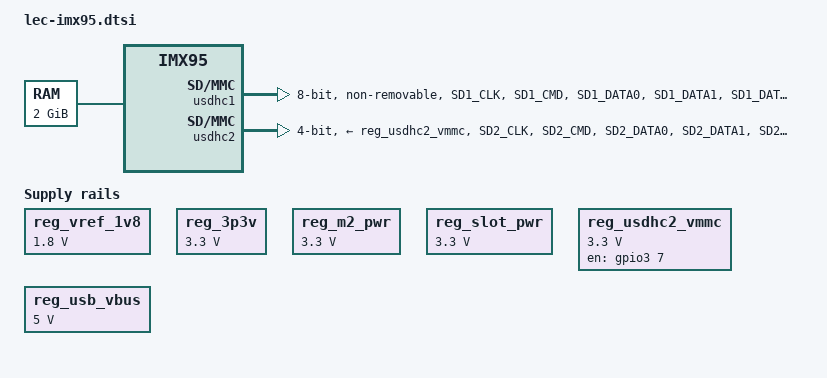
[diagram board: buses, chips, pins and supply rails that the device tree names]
// SPDX-License-Identifier: GPL-2.0-or-later OR MIT
/*
 * Copyright (C) 2026 Adlink
 *
 * https://www.adlinktech.com/products/Computer_on_Modules/SMARC/LEC-IMX95
 * https://www.adlinktech.com/products/computer_on_modules/SMARCStarterKits/I-Pi_SMARC_IMX95
 */

#include <dt-bindings/input/input.h>
#include <dt-bindings/net/ti-dp83867.h>
#include "imx95.dtsi"


/ {

	aliases {
		ethernet0 = &enetc_port0;
		ethernet1 = &enetc_port1;
		gpio0 = &gpio1;
		gpio1 = &gpio2;
		gpio2 = &gpio3;
		gpio3 = &gpio4;
		gpio4 = &gpio5;
		i2c0 = &lpi2c1;
		i2c1 = &lpi2c2;
		i2c2 = &lpi2c3;
		i2c3 = &lpi2c4;
		i2c4 = &lpi2c5;
		i2c5 = &lpi2c6;
		i2c6 = &lpi2c7;
		i2c7 = &lpi2c8;
		mmc0 = &usdhc1;
		mmc1 = &usdhc2;
		serial0 = &lpuart1;
		serial4 = &lpuart5;
		spi0 = &flexspi1;
                usb0 = &usb3_dwc3;
                usb1 = &usb2;
	};

	chosen {
		stdout-path = &lpuart1;
	};

	memory@80000000 {
		device_type = "memory";
		reg = <0x0 0x80000000 0 0x80000000>;
	};

	reserved-memory {
		#address-cells = <2>;
		#size-cells = <2>;
		ranges;

		linux_cma: linux,cma {
			compatible = "shared-dma-pool";
			alloc-ranges = <0 0x80000000 0 0x7f000000>;
			size = <0 0x3c000000>;
			linux,cma-default;
			reusable;
		};
	};

	reg_vref_1v8: regulator-1p8v {
		compatible = "regulator-fixed";
		regulator-max-microvolt = <1800000>;
		regulator-min-microvolt = <1800000>;
		regulator-name = "+V1.8_SW";
	};

	reg_3p3v: regulator-3p3v {
		compatible = "regulator-fixed";
		regulator-max-microvolt = <3300000>;
		regulator-min-microvolt = <3300000>;
		regulator-name = "+V3.3_SW";
	};

	chosen {
		bootargs = "console=ttyLP0,115200 earlycon";
	};

	reg_m2_pwr: regulator-m2-pwr {
		compatible = "regulator-fixed";
		regulator-name = "M.2-power";
		regulator-min-microvolt = <3300000>;
		regulator-max-microvolt = <3300000>;
		enable-active-high;
		/*
		 * M.2 device only can be enabled(W_DISABLE1#) after all Power
		 * Rails reach their minimum operating voltage (PCI Express M.2
		 * Specification r5.1 3.1.4 Power-up Timing).
		 * Set a delay equal to the max value of Tsettle here.
		 */
		startup-delay-us = <5000>;
	};

	reg_slot_pwr: regulator-slot-pwr {
		compatible = "regulator-fixed";
		regulator-name = "PCIe slot-power";
		regulator-min-microvolt = <3300000>;
		regulator-max-microvolt = <3300000>;
		enable-active-high;
	};

	reg_usdhc2_vmmc: regulator-usdhc2 {
		compatible = "regulator-fixed";
		pinctrl-names = "default";
		pinctrl-0 = <&pinctrl_reg_usdhc2_vmmc>;
		regulator-name = "VDD_SD2_3V3";
		regulator-min-microvolt = <3300000>;
		regulator-max-microvolt = <3300000>;
		enable-active-high;
		gpio = <&gpio3 7 GPIO_ACTIVE_HIGH>;
		off-on-delay-us = <12000>;
	};

	reg_usb_vbus: regulator-vbus {
		compatible = "regulator-fixed";
		regulator-name = "USB_VBUS";
		regulator-min-microvolt = <5000000>;
		regulator-max-microvolt = <5000000>;
		enable-active-high;
	};

};
&usdhc1 {
	pinctrl-names = "default", "state_100mhz", "state_200mhz", "sleep";
	pinctrl-0 = <&pinctrl_usdhc1>;
	pinctrl-1 = <&pinctrl_usdhc1_100mhz>;
	pinctrl-2 = <&pinctrl_usdhc1_200mhz>;
	pinctrl-3 = <&pinctrl_usdhc1>;
	bus-width = <8>;
	non-removable;
	no-sdio;
	no-sd;
	status = "okay";
};

&usdhc2 {
	pinctrl-names = "default", "state_100mhz", "state_200mhz", "sleep";
	pinctrl-0 = <&pinctrl_usdhc2>, <&pinctrl_usdhc2_gpio>;
	pinctrl-1 = <&pinctrl_usdhc2_100mhz>, <&pinctrl_usdhc2_gpio>;
	pinctrl-2 = <&pinctrl_usdhc2_200mhz>, <&pinctrl_usdhc2_gpio>;
	pinctrl-3 = <&pinctrl_usdhc2>, <&pinctrl_usdhc2_gpio>;
	cd-gpios = <&gpio3 0 GPIO_ACTIVE_LOW>;
	vmmc-supply = <&reg_usdhc2_vmmc>;
	bus-width = <4>;
	status = "okay";
};

&gpio2 {
	gpio-line-names =
		"SMARC_SPI0_CS0#",      /* 0  - GPIO_IO00 */
		"SMARC_SPI0_DIN",       /* 1  - GPIO_IO01 */
		"SMARC_SPI0_DO",        /* 2  - GPIO_IO02 */
		"SMARC_SPI0_CK",        /* 3  - GPIO_IO03 */
		"SMARC_SPI1_CS0#",      /* 4  - GPIO_IO04 */
		"SMARC_SPI1_DIN",       /* 5  - GPIO_IO05 */
		"SMARC_SPI1_DO",        /* 6  - GPIO_IO06 */
		"SMARC_SPI1_CK",        /* 7  - GPIO_IO07 */
		"SMARC_UART0_TXD",      /* 8  - GPIO_IO08 */
		"SMARC_UART0_RXD",      /* 9  - GPIO_IO09 */
		"SMARC_UART0_CTS_B",    /* 10 - GPIO_IO10 */
		"SMARC_UART0_RTS_B",    /* 11 - GPIO_IO11 */
		"SMARC_I2C_GP_DAT",     /* 12 - GPIO_IO12 */
		"SMARC_I2C_GP_CK",      /* 13 - GPIO_IO13 */
		"UART3_TXD_1V8",        /* 14 - GPIO_IO14 */
		"UART3_RXD_1V8",        /* 15 - GPIO_IO15 */
		"SAI3_TXC_1V8",         /* 16 - GPIO_IO16 */
		"SAI3_MCLK_1V8",        /* 17 - GPIO_IO17 */
		"SMB_INT_B_1V8",        /* 18 - GPIO_IO18 */
		"LVDS0_BKLT_PWM_1V8",   /* 19 - GPIO_IO19 */
		"SAI3_RXD_1V8",         /* 20 - GPIO_IO20 */
		"SAI3_TXD_1V8",         /* 21 - GPIO_IO21 */
		"FAN_PWM_1V8",          /* 22 - GPIO_IO22 */
		"LVDS1_BKLT_PWM_1V8",   /* 23 - GPIO_IO23 */
		"SPI6_SS1_1V8",         /* 24 - GPIO_IO24 */
		"SPI7_SS1_1V8",         /* 25 - GPIO_IO25 */
		"SAI3_TXFS_1V8",        /* 26 - GPIO_IO26 */
		"TPM_INT_N_1V8",        /* 27 - GPIO_IO27 */
		"SMARC_I2C_PM_DAT",     /* 28 - GPIO_IO28 */
		"SMARC_I2C_PM_CK",      /* 29 - GPIO_IO29 */
		"SMARC_CAN1_TX",        /* 30 - GPIO_IO30 (SMARC CAN1_H via transceiver) */
		"SMARC_CAN1_RX";        /* 31 - GPIO_IO31 (SMARC CAN1_L via transceiver) */
	status = "okay";
};

&gpio3 {
	gpio-line-names =
		"SD2_CD_B",
		"SD2_CLK",
		"SD2_CMD",
		"SD2_DATA0",
		"SD2_DATA1",
		"SD2_DATA2",
		"SD2_DATA3",
		"SD2_RST_B_1V8A3V",
		"SD1_CLK",
		"SD1_CMD",
		"SD1_DATA0",
		"SD1_DATA1",
		"SD1_DATA2",
		"SD1_DATA3",
		"SD1_DATA4",
		"SD1_DATA5",
		"SD1_DATA6",
		"SD1_DATA7",
		"SD1_STROBE",
		"SD2_VSEL_1V8",
		"SD3_CLK",
		"SD3_CMD",
		"SD3_DATA0",
		"SD3_DATA1",
		"SD3_DATA2",
		"SD3_DATA3",
		"CCM_CLKO1",
		"CCM_CLKO2",
		"DAP_TDI",
		"DAP_TMS_SWDIO",
		"DAP_TCLK_SWCLK",
		"DAP_TDO_TRACESWO";
	status = "okay";
};

&gpio4 {
	gpio-line-names =
		"ENET1_MDC",
		"ENET1_MDIO",
		"ENET1_TD3",
		"ENET1_TD2",
		"ENET1_TD1",
		"ENET1_TD0",
		"ENET1_TX_CTL",
		"ENET1_TXC",
		"ENET1_RX_CTL",
		"ENET1_RXC",
		"ENET1_RD0",
		"ENET1_RD1",
		"ENET1_RD2",
		"ENET1_RD3",
		"RTC_INT#_1V8",
		"IOEXP2_INT#_1V8",
		"ENET2_TD3",
		"ENET2_TD2",
		"ENET2_TD1",
		"ENET2_TD0",
		"ENET2_TX_CTL",
		"ENET2_TXC",
		"ENET2_RX_CTL",
		"ENET2_RXC",
		"ENET2_RD0",
		"ENET2_RD1",
		"ENET2_RD2",
		"ENET2_RD3",
		"CCM_CLKO3",
		"CCM_CLKO4";
	status = "okay";
};

&gpio5 {
	gpio-line-names =
		"QSPIA_DATA0",
		"QSPIA_DATA1",
		"QSPIA_DATA2",
		"QSPIA_DATA3",
		"SKU_CONFIG1_1V8",
		"SKU_CONFIG2_1V8",
		"SKU_CONFIG3_1V8",
		"SYS_STATUS_1V8",
		"SD2_WP_1V8",
		"QSPIA_SCLK",
		"QSPIA_nSS0",
		"SYS_RST#_1V8",
		"PCIE1_IMX_CLKREQ#_1V8",
		"MCU_INTB1_1V8",
		"MCU_INTB2_1V8",
		"PCIE2_IMX_CLKREQ#_1V8",
		"ENET1_INT_B_1V8",
		"ENET2_INT_B_1V8";
	status = "okay";
};

&scmi_iomuxc {
	pinctrl_emdio: emdiogrp {
		fsl,pins = <
			IMX95_PAD_ENET1_MDC__NETCMIX_TOP_NETC_MDC		0x50e
			IMX95_PAD_ENET1_MDIO__NETCMIX_TOP_NETC_MDIO		0x90e
		>;
	};

	pinctrl_enetc0: enetc0grp {
		fsl,pins = <
			IMX95_PAD_ENET1_TD3__NETCMIX_TOP_ETH0_RGMII_TD3		0x50e
			IMX95_PAD_ENET1_TD2__NETCMIX_TOP_ETH0_RGMII_TD2		0x50e
			IMX95_PAD_ENET1_TD1__NETCMIX_TOP_ETH0_RGMII_TD1		0x50e
			IMX95_PAD_ENET1_TD0__NETCMIX_TOP_ETH0_RGMII_TD0		0x50e
			IMX95_PAD_ENET1_TX_CTL__NETCMIX_TOP_ETH0_RGMII_TX_CTL	0x57e
			IMX95_PAD_ENET1_TXC__NETCMIX_TOP_ETH0_RGMII_TX_CLK	0x58e
			IMX95_PAD_ENET1_RX_CTL__NETCMIX_TOP_ETH0_RGMII_RX_CTL	0x57e
			IMX95_PAD_ENET1_RXC__NETCMIX_TOP_ETH0_RGMII_RX_CLK	0x58e
			IMX95_PAD_ENET1_RD0__NETCMIX_TOP_ETH0_RGMII_RD0		0x57e
			IMX95_PAD_ENET1_RD1__NETCMIX_TOP_ETH0_RGMII_RD1		0x57e
			IMX95_PAD_ENET1_RD2__NETCMIX_TOP_ETH0_RGMII_RD2		0x57e
			IMX95_PAD_ENET1_RD3__NETCMIX_TOP_ETH0_RGMII_RD3		0x57e
		>;
	};

	pinctrl_enetc1: enetc1grp {
		fsl,pins = <
			IMX95_PAD_ENET2_TD3__NETCMIX_TOP_ETH1_RGMII_TD3		0x57e
			IMX95_PAD_ENET2_TD2__NETCMIX_TOP_ETH1_RGMII_TD2		0x57e
			IMX95_PAD_ENET2_TD1__NETCMIX_TOP_ETH1_RGMII_TD1		0x57e
			IMX95_PAD_ENET2_TD0__NETCMIX_TOP_ETH1_RGMII_TD0		0x57e
			IMX95_PAD_ENET2_TX_CTL__NETCMIX_TOP_ETH1_RGMII_TX_CTL	0x57e
			IMX95_PAD_ENET2_TXC__NETCMIX_TOP_ETH1_RGMII_TX_CLK	0x5fe
			IMX95_PAD_ENET2_RX_CTL__NETCMIX_TOP_ETH1_RGMII_RX_CTL	0x57e
			IMX95_PAD_ENET2_RXC__NETCMIX_TOP_ETH1_RGMII_RX_CLK	0x5fe
			IMX95_PAD_ENET2_RD0__NETCMIX_TOP_ETH1_RGMII_RD0		0x57e
			IMX95_PAD_ENET2_RD1__NETCMIX_TOP_ETH1_RGMII_RD1		0x57e
			IMX95_PAD_ENET2_RD2__NETCMIX_TOP_ETH1_RGMII_RD2		0x57e
			IMX95_PAD_ENET2_RD3__NETCMIX_TOP_ETH1_RGMII_RD3		0x57e
		>;
	};

	pinctrl_hp: hpgrp {
		fsl,pins = <
			IMX95_PAD_GPIO_IO11__GPIO2_IO_BIT11		0x31e
		>;
	};

	pinctrl_lpi2c1: lpi2c1grp {
		fsl,pins = <
			IMX95_PAD_I2C1_SCL__AONMIX_TOP_LPI2C1_SCL		0x40000b9e
			IMX95_PAD_I2C1_SDA__AONMIX_TOP_LPI2C1_SDA		0x40000b9e
		>;
	};

	pinctrl_lpi2c2: lpi2c2grp {
		fsl,pins = <
			IMX95_PAD_I2C2_SCL__AONMIX_TOP_LPI2C2_SCL		0x40000b9e
			IMX95_PAD_I2C2_SDA__AONMIX_TOP_LPI2C2_SDA		0x40000b9e
		>;
	};

	pinctrl_lpi2c3: lpi2c3grp {
		fsl,pins = <
			IMX95_PAD_GPIO_IO28__LPI2C3_SDA			0x40000b9e
			IMX95_PAD_GPIO_IO29__LPI2C3_SCL			0x40000b9e
		>;
	};

	pinctrl_lpi2c4: lpi2c4grp {
		fsl,pins = <
			IMX95_PAD_GPIO_IO30__LPI2C4_SDA			0x40000b9e
			IMX95_PAD_GPIO_IO31__LPI2C4_SCL			0x40000b9e
		>;
	};

	pinctrl_lpi2c5: lpi2c5grp {
		fsl,pins = <
			IMX95_PAD_GPIO_IO22__LPI2C5_SDA			0x40000b9e
			IMX95_PAD_GPIO_IO23__LPI2C5_SCL			0x40000b9e
		>;
	};

	pinctrl_lpi2c6: lpi2c6grp {
		fsl,pins = <
			IMX95_PAD_GPIO_IO02__LPI2C6_SDA			0x40000b9e
			IMX95_PAD_GPIO_IO03__LPI2C6_SCL			0x40000b9e
		>;
	};

	pinctrl_lpi2c7: lpi2c7grp {
		fsl,pins = <
			IMX95_PAD_GPIO_IO08__LPI2C7_SDA			0x40000b9e
			IMX95_PAD_GPIO_IO09__LPI2C7_SCL			0x40000b9e
		>;
	};

	pinctrl_lpspi7: lpspi7grp {
		fsl,pins = <
			IMX95_PAD_GPIO_IO04__GPIO2_IO_BIT4		0x3fe
			IMX95_PAD_GPIO_IO05__LPSPI7_SIN			0x3fe
			IMX95_PAD_GPIO_IO06__LPSPI7_SOUT		0x3fe
			IMX95_PAD_GPIO_IO07__LPSPI7_SCK			0x3fe
		>;
	};

	pinctrl_pcie0: pcie0grp {
		fsl,pins = <
			IMX95_PAD_GPIO_IO32__HSIOMIX_TOP_PCIE1_CLKREQ_B		0x4000031e
		>;
	};

	pinctrl_pcie1: pcie1grp {
		fsl,pins = <
			IMX95_PAD_GPIO_IO35__HSIOMIX_TOP_PCIE2_CLKREQ_B		0x4000031e
		>;
	};

	pinctrl_uart1: uart1grp {
		fsl,pins = <
			IMX95_PAD_UART1_RXD__AONMIX_TOP_LPUART1_RX      0x31e
			IMX95_PAD_UART1_TXD__AONMIX_TOP_LPUART1_TX      0x31e
		>;
	};

	pinctrl_uart5: uart5grp {
		fsl,pins = <
			IMX95_PAD_DAP_TDO_TRACESWO__LPUART5_TX		0x31e
			IMX95_PAD_DAP_TDI__LPUART5_RX			0x31e
			IMX95_PAD_DAP_TMS_SWDIO__LPUART5_RTS_B		0x31e
			IMX95_PAD_DAP_TCLK_SWCLK__LPUART5_CTS_B		0x31e
		>;
	};

	pinctrl_usdhc1: usdhc1grp {
		fsl,pins = <
			IMX95_PAD_SD1_CLK__USDHC1_CLK			0x158e
			IMX95_PAD_SD1_CMD__USDHC1_CMD			0x138e
			IMX95_PAD_SD1_DATA0__USDHC1_DATA0		0x138e
			IMX95_PAD_SD1_DATA1__USDHC1_DATA1		0x138e
			IMX95_PAD_SD1_DATA2__USDHC1_DATA2		0x138e
			IMX95_PAD_SD1_DATA3__USDHC1_DATA3		0x138e
			IMX95_PAD_SD1_DATA4__USDHC1_DATA4		0x138e
			IMX95_PAD_SD1_DATA5__USDHC1_DATA5		0x138e
			IMX95_PAD_SD1_DATA6__USDHC1_DATA6		0x138e
			IMX95_PAD_SD1_DATA7__USDHC1_DATA7		0x138e
			IMX95_PAD_SD1_STROBE__USDHC1_STROBE		0x158e
		>;
	};

	pinctrl_usdhc1_100mhz: usdhc1-100mhzgrp {
		fsl,pins = <
			IMX95_PAD_SD1_CLK__USDHC1_CLK			0x158e
			IMX95_PAD_SD1_CMD__USDHC1_CMD			0x138e
			IMX95_PAD_SD1_DATA0__USDHC1_DATA0		0x138e
			IMX95_PAD_SD1_DATA1__USDHC1_DATA1		0x138e
			IMX95_PAD_SD1_DATA2__USDHC1_DATA2		0x138e
			IMX95_PAD_SD1_DATA3__USDHC1_DATA3		0x138e
			IMX95_PAD_SD1_DATA4__USDHC1_DATA4		0x138e
			IMX95_PAD_SD1_DATA5__USDHC1_DATA5		0x138e
			IMX95_PAD_SD1_DATA6__USDHC1_DATA6		0x138e
			IMX95_PAD_SD1_DATA7__USDHC1_DATA7		0x138e
			IMX95_PAD_SD1_STROBE__USDHC1_STROBE		0x158e
		>;
	};

	pinctrl_usdhc1_200mhz: usdhc1-200mhzgrp {
		fsl,pins = <
			IMX95_PAD_SD1_CLK__USDHC1_CLK			0x15fe
			IMX95_PAD_SD1_CMD__USDHC1_CMD			0x13fe
			IMX95_PAD_SD1_DATA0__USDHC1_DATA0		0x13fe
			IMX95_PAD_SD1_DATA1__USDHC1_DATA1		0x13fe
			IMX95_PAD_SD1_DATA2__USDHC1_DATA2		0x13fe
			IMX95_PAD_SD1_DATA3__USDHC1_DATA3		0x13fe
			IMX95_PAD_SD1_DATA4__USDHC1_DATA4		0x13fe
			IMX95_PAD_SD1_DATA5__USDHC1_DATA5		0x13fe
			IMX95_PAD_SD1_DATA6__USDHC1_DATA6		0x13fe
			IMX95_PAD_SD1_DATA7__USDHC1_DATA7		0x13fe
			IMX95_PAD_SD1_STROBE__USDHC1_STROBE		0x15fe
		>;
	};

	pinctrl_reg_usdhc2_vmmc: regusdhc2vmmcgrp {
		fsl,pins = <
			IMX95_PAD_SD2_RESET_B__GPIO3_IO_BIT7		0x31e
		>;
	};

	pinctrl_typec: typecgrp {
		fsl,pins = <
			IMX95_PAD_GPIO_IO34__GPIO5_IO_BIT14			0x31e
		>;
	};

	pinctrl_usdhc2_gpio: usdhc2gpiogrp {
		fsl,pins = <
			IMX95_PAD_SD2_CD_B__GPIO3_IO_BIT0		0x31e
		>;
	};

	pinctrl_usdhc2: usdhc2grp {
		fsl,pins = <
			IMX95_PAD_SD2_CLK__USDHC2_CLK			0x158e
			IMX95_PAD_SD2_CMD__USDHC2_CMD			0x138e
			IMX95_PAD_SD2_DATA0__USDHC2_DATA0		0x138e
			IMX95_PAD_SD2_DATA1__USDHC2_DATA1		0x138e
			IMX95_PAD_SD2_DATA2__USDHC2_DATA2		0x138e
			IMX95_PAD_SD2_DATA3__USDHC2_DATA3		0x138e
			IMX95_PAD_SD2_VSELECT__USDHC2_VSELECT		0x51e
		>;
	};

	pinctrl_usdhc2_100mhz: usdhc2-100mhzgrp {
		fsl,pins = <
			IMX95_PAD_SD2_CLK__USDHC2_CLK			0x158e
			IMX95_PAD_SD2_CMD__USDHC2_CMD			0x138e
			IMX95_PAD_SD2_DATA0__USDHC2_DATA0		0x138e
			IMX95_PAD_SD2_DATA1__USDHC2_DATA1		0x138e
			IMX95_PAD_SD2_DATA2__USDHC2_DATA2		0x138e
			IMX95_PAD_SD2_DATA3__USDHC2_DATA3		0x138e
			IMX95_PAD_SD2_VSELECT__USDHC2_VSELECT		0x51e
		>;
	};

	pinctrl_usdhc2_200mhz: usdhc2-200mhzgrp {
		fsl,pins = <
			IMX95_PAD_SD2_CLK__USDHC2_CLK			0x158e
			IMX95_PAD_SD2_CMD__USDHC2_CMD			0x138e
			IMX95_PAD_SD2_DATA0__USDHC2_DATA0		0x138e
			IMX95_PAD_SD2_DATA1__USDHC2_DATA1		0x138e
			IMX95_PAD_SD2_DATA2__USDHC2_DATA2		0x138e
			IMX95_PAD_SD2_DATA3__USDHC2_DATA3		0x138e
			IMX95_PAD_SD2_VSELECT__USDHC2_VSELECT		0x51e
		>;
	};
};

